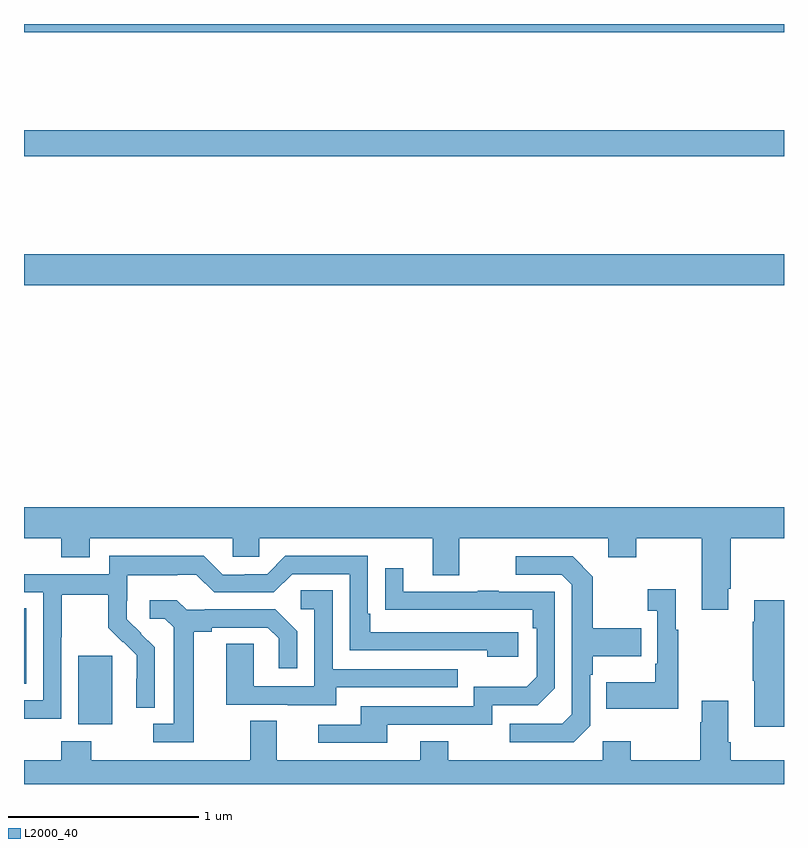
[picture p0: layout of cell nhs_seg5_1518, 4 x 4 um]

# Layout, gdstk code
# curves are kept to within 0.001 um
import gdstk
lib = gdstk.Library(unit=1e-6, precision=1e-09)
def R(c, l, rs):  # rectangles x0, y0, x1, y1
    for r in rs: c.add(gdstk.rectangle(r[:2], r[2:], *l))
def P(c, l, *ps):  # polygons
    for p in ps: c.add(gdstk.Polygon(p, *l))
L2000_40 = (2000, 40)

nhs_seg5_1518 = lib.new_cell('nhs_seg5_1518')
R(nhs_seg5_1518, L2000_40, [(203.285,857.114,203.464,857.475), (203,857.326,203.011,857.723), (203,859.424,207,859.588), (203,860.104,207,860.24), (203,860.756,207,860.799)])
P(nhs_seg5_1518, L2000_40, [(206.707,857.827),(206.72,857.827),(206.72,858.092),(207,858.092),(207,858.256),(203,858.256),(203,858.092),(203.195,858.092),(203.195,857.993),(203.347,857.993),(203.347,858.092),(204.099,858.092),(204.099,857.994),(204.237,857.994),(204.237,858.092),(205.151,858.092),(205.151,857.898),(205.291,857.898),(205.291,858.092),(206.075,858.092),(206.075,857.993),(206.223,857.993),(206.223,858.092),(206.567,858.092),(206.567,857.715),(206.707,857.715)],
  [(203.196,857.572),(203.199,857.572),(203.199,857.796),(203.443,857.796),(203.443,857.621),(203.52,857.544),(203.523,857.547),(203.594,857.477),(203.594,857.354),(203.592,857.354),(203.592,857.2),(203.688,857.2),(203.688,857.518),(203.542,857.666),(203.542,857.763),(203.544,857.763),(203.544,857.897),(203.807,857.897),(203.807,857.901),(203.907,857.901),(204,857.808),(204.315,857.808),(204.411,857.904),(204.714,857.904),(204.714,857.502),(205.439,857.502),(205.439,857.468),(205.6,857.468),(205.6,857.598),(204.823,857.598),(204.823,857.695),(204.81,857.695),(204.81,858),(204.375,858),(204.279,857.904),(204.161,857.904),(204.161,857.901),(204.045,857.901),(203.945,858.001),(203.448,858.001),(203.448,857.904),(203,857.904),(203,857.808),(203.1,857.808),(203.1,857.241),(203,857.241),(203,857.143),(203.196,857.143)],
  [(205.98,857.106),(205.98,857.375),(205.993,857.375),(205.993,857.471),(206.249,857.471),(206.249,857.619),(205.993,857.619),(205.993,857.891),(205.887,857.997),(205.587,857.997),(205.587,857.901),(205.83,857.901),(205.884,857.847),(205.884,857.166),(205.833,857.115),(205.557,857.115),(205.557,857.019),(205.893,857.019)],
  [(204.913,857.112),(205.464,857.112),(205.464,857.214),(205.704,857.214),(205.794,857.304),(205.794,857.811),(205.499,857.811),(205.499,857.816),(205.387,857.816),(205.387,857.811),(204.997,857.811),(204.997,857.935),(204.901,857.935),(204.901,857.716),(205.678,857.715),(205.678,857.618),(205.698,857.618),(205.698,857.364),(205.645,857.311),(205.368,857.311),(205.368,857.208),(204.773,857.208),(204.773,857.112),(204.549,857.112),(204.549,857.016),(204.913,857.016)],
  [(206.443,857.611),(206.431,857.611),(206.431,857.824),(206.283,857.824),(206.283,857.711),(206.334,857.711),(206.334,857.431),(206.322,857.431),(206.322,857.335),(206.065,857.335),(206.065,857.195),(206.443,857.195)],
  [(204.643,857.307),(205.283,857.307),(205.283,857.403),(204.624,857.403),(204.624,857.819),(204.456,857.819),(204.456,857.718),(204.528,857.718),(204.528,857.313),(204.21,857.313),(204.21,857.537),(204.065,857.537),(204.065,857.217),(204.389,857.217),(204.389,857.213),(204.643,857.213)],
  [(203.893,857.6),(203.989,857.6),(203.989,857.622),(204.284,857.622),(204.341,857.565),(204.341,857.409),(204.438,857.409),(204.438,857.602),(204.322,857.718),(203.95,857.718),(203.95,857.715),(203.856,857.715),(203.804,857.767),(203.661,857.767),(203.661,857.67),(203.742,857.67),(203.789,857.623),(203.789,857.115),(203.679,857.115),(203.679,857.019),(203.893,857.019)],
  [(207,857.767),(206.843,857.767),(206.843,857.654),(206.836,857.654),(206.836,857.343),(206.843,857.343),(206.843,857.1),(207,857.1)],
  [(204.191,857.132),(204.191,856.924),(203.355,856.924),(203.355,857.023),(203.195,857.023),(203.195,856.924),(203,856.924),(203,856.799),(207,856.799),(207,856.924),(206.72,856.924),(206.72,857.02),(206.707,857.02),(206.707,857.236),(206.567,857.236),(206.567,857.123),(206.56,857.123),(206.56,856.924),(206.193,856.924),(206.193,857.023),(206.046,857.023),(206.046,856.924),(205.233,856.924),(205.233,857.023),(205.085,857.023),(205.085,856.924),(204.331,856.924),(204.331,857.132)])

lib.write_gds('nhs_seg5_1518.gds')
